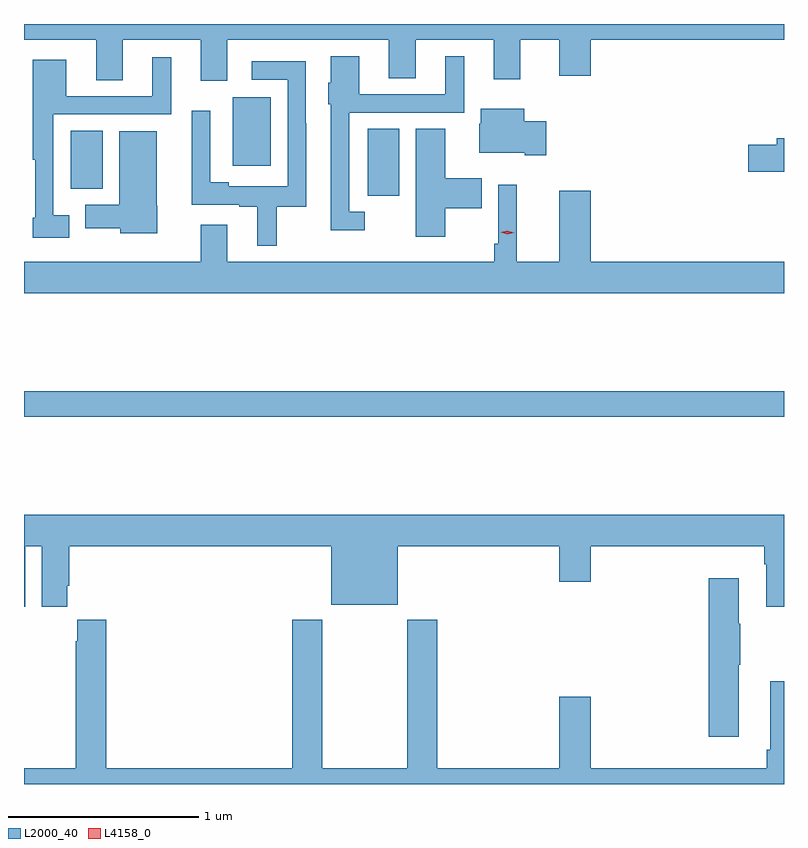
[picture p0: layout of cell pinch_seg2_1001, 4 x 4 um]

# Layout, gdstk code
import gdstk
lib = gdstk.Library(unit=1e-6, precision=1e-09)
def R(c, l, rs):  # rectangles x0, y0, x1, y1
    for r in rs: c.add(gdstk.rectangle(r[:2], r[2:], *l))
def P(c, l, *ps):  # polygons
    for p in ps: c.add(gdstk.Polygon(p, *l))
L2000_40 = (2000, 40)
L4158_0 = (4158, 0)

pinch_seg2_1001 = lib.new_cell('pinch_seg2_1001')
R(pinch_seg2_1001, L2000_40, [(353.998,607.024,357.998,607.16), (355.808,608.187,355.972,608.54), (354.245,608.225,354.412,608.531), (355.097,608.345,355.297,608.707)])
P(pinch_seg2_1001, L2000_40, [(353.998,609.008),(354.377,609.008),(354.377,608.797),(354.517,608.797),(354.517,609.008),(354.929,609.008),(354.929,608.793),(355.069,608.793),(355.069,609.008),(355.919,609.008),(355.919,608.806),(356.059,608.806),(356.059,609.008),(356.471,609.008),(356.471,608.802),(356.611,608.802),(356.611,609.008),(356.816,609.008),(356.816,608.82),(356.98,608.82),(356.98,609.008),(357.998,609.008),(357.998,609.092),(353.998,609.092)],
  [(355.792,608.103),(355.71,608.103),(355.71,608.625),(356.314,608.625),(356.314,608.923),(356.216,608.923),(356.216,608.721),(355.762,608.721),(355.762,608.923),(355.613,608.923),(355.613,608.784),(355.598,608.784),(355.598,608.67),(355.613,608.67),(355.613,608.006),(355.792,608.006)],
  [(354.236,608.086),(354.153,608.086),(354.153,608.616),(354.772,608.616),(354.772,608.917),(354.674,608.917),(354.674,608.712),(354.22,608.712),(354.22,608.905),(354.044,608.905),(354.044,608.669),(354.045,608.669),(354.045,608.377),(354.057,608.377),(354.057,608.071),(354.045,608.071),(354.045,607.967),(354.236,607.967)],
  [(355.328,608.13),(355.483,608.13),(355.483,608.57),(355.482,608.57),(355.482,608.895),(355.197,608.895),(355.197,608.799),(355.386,608.799),(355.386,608.238),(355.075,608.238),(355.075,608.258),(354.978,608.258),(354.978,608.635),(354.881,608.635),(354.881,608.142),(355.13,608.142),(355.13,608.13),(355.226,608.13),(355.226,607.925),(355.328,607.925)],
  [(356.746,608.58),(356.632,608.58),(356.632,608.647),(356.402,608.647),(356.402,608.568),(356.393,608.568),(356.393,608.414),(356.633,608.414),(356.633,608.402),(356.746,608.402)],
  [(356.215,608.123),(356.408,608.123),(356.408,608.281),(356.215,608.281),(356.215,608.54),(356.06,608.54),(356.06,607.971),(356.215,607.971)],
  [(354.7,608.136),(354.697,608.136),(354.697,608.527),(354.5,608.527),(354.5,608.14),(354.321,608.14),(354.321,608.018),(354.504,608.018),(354.504,607.991),(354.7,607.991)],
  [(357.998,608.492),(357.959,608.492),(357.959,608.456),(357.81,608.456),(357.81,608.314),(357.998,608.314)],
  [(357.998,607.84),(356.98,607.84),(356.98,608.215),(356.816,608.215),(356.816,607.84),(356.592,607.84),(356.592,608.245),(356.493,608.245),(356.493,607.936),(356.473,607.936),(356.473,607.84),(355.069,607.84),(355.069,608.035),(354.929,608.035),(354.929,607.84),(353.998,607.84),(353.998,607.676),(357.998,607.676)],
  [(354.004,606.344),(354.092,606.344),(354.092,606.024),(354.226,606.024),(354.226,606.136),(354.236,606.136),(354.236,606.344),(355.616,606.344),(355.616,606.035),(355.966,606.035),(355.966,606.344),(356.816,606.344),(356.816,606.156),(356.98,606.156),(356.98,606.344),(357.893,606.344),(357.893,606.248),(357.905,606.248),(357.905,606.024),(357.998,606.024),(357.998,606.508),(353.998,606.508),(353.998,606.024),(354.004,606.024)],
  [(357.76,605.719),(357.768,605.719),(357.768,605.936),(357.76,605.936),(357.76,606.175),(357.602,606.175),(357.602,605.34),(357.76,605.34)],
  [(357.998,605.632),(357.926,605.632),(357.926,605.272),(357.907,605.272),(357.907,605.176),(356.98,605.176),(356.98,605.551),(356.816,605.551),(356.816,605.176),(356.174,605.176),(356.174,605.956),(356.014,605.956),(356.014,605.176),(355.569,605.176),(355.569,605.956),(355.409,605.956),(355.409,605.176),(354.431,605.176),(354.431,605.956),(354.277,605.956),(354.277,605.843),(354.271,605.843),(354.271,605.176),(353.998,605.176),(353.998,605.092),(357.998,605.092)])
P(pinch_seg2_1001, L4158_0, [(356.542,607.985),(356.506,607.995),(356.506,607.995),(356.506,607.996),(356.542,608.005),(356.577,607.994),(356.578,607.994),(356.577,607.994)])

lib.write_gds('pinch_seg2_1001.gds')
